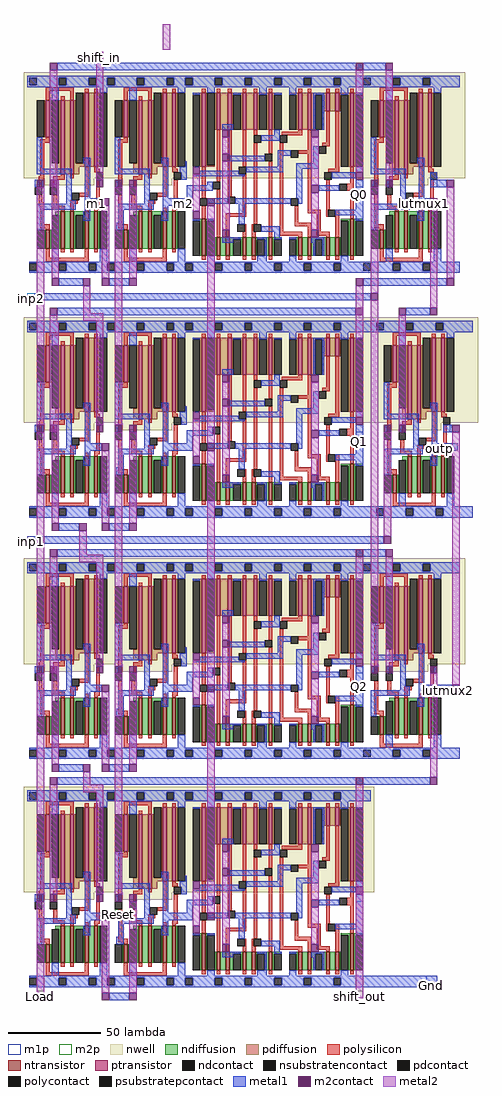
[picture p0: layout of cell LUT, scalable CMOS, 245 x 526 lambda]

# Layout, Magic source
magic
tech scmos
<< metal1 >>
rect 127 584 143 588
rect -50 575 -43 581
rect 167 525 171 529
rect 167 521 176 525
rect 127 515 131 521
rect -17 511 -10 515
rect 31 511 38 515
rect 161 511 167 515
rect -33 468 -20 472
rect 131 468 176 472
rect -46 460 135 464
rect 154 452 167 456
rect -50 443 -42 449
rect 135 443 147 449
rect 174 389 179 393
rect 127 382 131 388
rect 172 379 182 383
rect 135 343 147 349
rect -33 336 -22 340
rect -50 329 142 333
rect 127 322 143 326
rect -50 313 -42 319
rect 127 250 131 256
rect 167 249 179 253
rect -33 206 -20 210
rect 127 199 167 203
rect -50 190 -42 196
rect 135 90 171 96
<< m2contact >>
rect 143 584 147 588
rect -45 521 -41 525
rect -13 521 -9 525
rect -3 521 1 525
rect 135 521 139 525
rect 143 521 147 525
rect 176 521 180 525
rect 47 511 51 515
rect 167 511 171 515
rect -37 468 -33 472
rect -20 468 -16 472
rect 127 468 131 472
rect 176 468 180 472
rect 135 460 139 464
rect 150 452 154 456
rect 167 452 171 456
rect -45 389 -41 393
rect -13 389 -9 393
rect -3 389 1 393
rect 142 389 146 393
rect 150 389 154 393
rect 179 389 183 393
rect 47 379 51 383
rect -37 336 -33 340
rect -22 336 -18 340
rect 142 329 146 333
rect 143 322 147 326
rect -45 259 -41 263
rect -13 259 -9 263
rect -3 259 1 263
rect 135 259 139 263
rect 143 259 147 263
rect 167 259 171 263
rect 47 249 51 253
rect 179 249 183 253
rect -37 206 -33 210
rect -20 206 -16 210
rect 167 199 171 203
rect -45 136 -41 140
rect -13 136 -9 140
rect -3 136 1 140
rect 47 126 51 130
<< metal2 >>
rect 23 595 27 609
rect -13 525 -9 594
rect 143 525 147 584
rect -45 393 -41 521
rect -37 472 -33 525
rect -20 453 -16 468
rect -20 449 -9 453
rect -45 263 -41 389
rect -37 340 -33 448
rect -13 393 -9 449
rect -3 393 1 521
rect -22 323 -18 336
rect -22 319 -9 323
rect -45 140 -41 259
rect -37 210 -33 266
rect -13 263 -9 319
rect -3 263 1 389
rect -20 199 -16 206
rect -20 195 -9 199
rect -13 140 -9 195
rect -3 140 1 259
rect 47 383 51 511
rect 127 443 131 468
rect 135 464 139 521
rect 47 253 51 379
rect 135 263 139 460
rect 167 456 171 511
rect 176 472 180 521
rect 150 393 154 452
rect 142 333 146 389
rect 143 263 147 322
rect -45 84 -41 136
rect 47 130 51 249
rect 167 203 171 259
rect 179 253 183 389
rect 127 84 131 199
<< m1p >>
rect -50 460 -46 464
rect -50 329 -46 333
rect 165 90 171 96
<< m2p >>
rect -13 590 -9 594
rect -3 128 1 132
rect -45 84 -41 88
rect 127 84 131 88
use MUX2X1  MUX2X1_0
transform 1 0 133 0 1 478
box -5 -3 53 105
use DFFPOSRL  DFFPOSRL_3
transform 1 0 -68 0 1 212
box 16 256 205 376
use MUX2X1  MUX2X1_1
transform 1 0 140 0 1 346
box -5 -3 53 105
use DFFPOSRL  DFFPOSRL_2
transform 1 0 -68 0 1 80
box 16 256 205 376
use MUX2X1  MUX2X1_2
transform 1 0 133 0 1 216
box -5 -3 53 105
use DFFPOSRL  DFFPOSRL_1
transform 1 0 -68 0 1 -50
box 16 256 205 376
use DFFPOSRL  DFFPOSRL_0
transform 1 0 -68 0 1 -173
box 16 256 205 376
<< labels >>
rlabel metal2 -43 85 -43 85 1 Load
rlabel metal1 168 91 168 91 1 Gnd
rlabel metal2 -11 591 -11 591 1 shift_in
rlabel metal1 129 517 129 517 1 Q0
rlabel metal1 129 384 129 384 1 Q1
rlabel metal1 129 252 129 252 1 Q2
rlabel metal2 129 85 129 85 1 shift_out
rlabel metal1 -13 512 -13 512 1 m1
rlabel metal1 34 512 34 512 1 m2
rlabel metal1 177 250 177 250 1 lutmux2
rlabel metal1 164 512 164 512 1 lutmux1
rlabel metal1 172 380 172 380 1 outp
rlabel m1p -48 461 -48 461 3 inp2
rlabel metal1 -48 330 -48 330 3 inp1
rlabel m2p -1 129 -1 129 1 Reset
<< end >>

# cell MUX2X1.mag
magic
tech scmos
<< nwell >>
rect -5 48 53 105
rect 6 44 33 48
<< ntransistor >>
rect 7 10 9 20
rect 15 10 17 30
rect 20 10 22 30
rect 28 10 30 30
rect 33 10 35 30
<< ptransistor >>
rect 7 70 9 90
rect 15 50 17 90
rect 20 50 22 90
rect 28 54 30 94
rect 33 54 35 94
<< ndiffusion >>
rect 12 28 15 30
rect 6 10 7 20
rect 9 10 10 20
rect 14 10 15 28
rect 17 10 20 30
rect 22 28 28 30
rect 22 10 23 28
rect 27 10 28 28
rect 30 10 33 30
rect 35 10 36 30
<< pdiffusion >>
rect 6 70 7 90
rect 9 70 10 90
rect 14 56 15 90
rect 12 50 15 56
rect 17 50 20 90
rect 22 56 23 90
rect 27 56 28 94
rect 22 54 28 56
rect 30 54 33 94
rect 35 54 36 94
rect 22 50 25 54
<< ndcontact >>
rect 2 10 6 20
rect 10 10 14 28
rect 23 10 27 28
rect 36 10 40 30
<< pdcontact >>
rect 2 70 6 90
rect 10 56 14 90
rect 23 56 27 94
rect 36 54 40 94
<< psubstratepcontact >>
rect -2 -2 2 2
rect 14 -2 18 2
rect 30 -2 34 2
<< nsubstratencontact >>
rect -2 98 2 102
rect 14 98 18 102
rect 30 98 34 102
<< polysilicon >>
rect 7 95 22 97
rect 7 90 9 95
rect 15 90 17 92
rect 20 90 22 95
rect 28 94 30 96
rect 33 94 35 96
rect 7 69 9 70
rect 4 67 9 69
rect 4 43 6 67
rect 15 49 17 50
rect 12 47 17 49
rect 20 48 22 50
rect 12 43 14 47
rect 28 40 30 54
rect 33 53 35 54
rect 33 51 36 53
rect 4 23 6 39
rect 11 33 13 39
rect 25 38 30 40
rect 20 34 24 36
rect 11 31 17 33
rect 15 30 17 31
rect 20 30 22 34
rect 34 33 36 47
rect 28 30 30 32
rect 33 31 36 33
rect 33 30 35 31
rect 4 21 9 23
rect 7 20 9 21
rect 7 5 9 10
rect 15 8 17 10
rect 20 8 22 10
rect 28 5 30 10
rect 33 8 35 10
rect 7 3 30 5
<< polycontact >>
rect 2 39 6 43
rect 10 39 14 43
rect 21 36 25 40
rect 34 47 38 51
<< metal1 >>
rect -2 102 50 103
rect 2 98 14 102
rect 18 98 30 102
rect 34 98 50 102
rect -2 97 50 98
rect 10 90 14 97
rect 36 94 40 97
rect 2 53 5 70
rect 27 56 31 59
rect 2 50 21 53
rect 2 43 6 47
rect 10 43 14 47
rect 18 36 21 50
rect 28 37 31 56
rect 34 43 38 47
rect 18 34 23 36
rect 2 31 23 34
rect 28 33 38 37
rect 2 20 5 31
rect 28 30 31 33
rect 27 25 31 30
rect 10 3 14 10
rect 36 3 40 10
rect -2 2 50 3
rect 2 -2 14 2
rect 18 -2 30 2
rect 34 -2 50 2
rect -2 -3 50 -2
<< m1p >>
rect 2 43 6 47
rect 10 43 14 47
rect 34 43 38 47
rect 34 33 38 37
<< labels >>
rlabel metal1 4 45 4 45 1 S
rlabel metal1 4 100 4 100 6 vdd
rlabel metal1 4 0 4 0 8 gnd
rlabel metal1 36 45 36 45 1 A
rlabel metal1 12 45 12 45 1 B
rlabel metal1 36 35 36 35 1 Y
<< end >>

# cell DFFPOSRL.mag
magic
tech scmos
<< nwell >>
rect 16 314 205 371
rect 27 310 54 314
rect 69 310 96 314
<< ntransistor >>
rect 28 276 30 286
rect 36 276 38 296
rect 41 276 43 296
rect 49 276 51 296
rect 54 276 56 296
rect 70 276 72 286
rect 78 276 80 296
rect 83 276 85 296
rect 91 276 93 296
rect 96 276 98 296
rect 112 272 114 292
rect 120 272 122 282
rect 125 272 127 282
rect 134 272 136 282
rect 139 272 141 282
rect 148 272 150 282
rect 164 272 166 282
rect 169 272 171 282
rect 179 272 181 282
rect 184 272 186 282
rect 192 272 194 292
<< ptransistor >>
rect 28 336 30 356
rect 36 316 38 356
rect 41 316 43 356
rect 49 320 51 360
rect 54 320 56 360
rect 70 336 72 356
rect 78 316 80 356
rect 83 316 85 356
rect 91 320 93 360
rect 96 320 98 360
rect 112 320 114 360
rect 120 340 122 360
rect 126 340 128 360
rect 134 340 136 360
rect 140 340 142 360
rect 148 340 150 360
rect 164 340 166 360
rect 169 340 171 360
rect 179 350 181 360
rect 184 350 186 360
rect 192 320 194 360
<< ndiffusion >>
rect 33 294 36 296
rect 27 276 28 286
rect 30 276 31 286
rect 35 276 36 294
rect 38 276 41 296
rect 43 294 49 296
rect 43 276 44 294
rect 48 276 49 294
rect 51 276 54 296
rect 56 276 57 296
rect 75 294 78 296
rect 69 276 70 286
rect 72 276 73 286
rect 77 276 78 294
rect 80 276 83 296
rect 85 294 91 296
rect 85 276 86 294
rect 90 276 91 294
rect 93 276 96 296
rect 98 276 99 296
rect 107 291 112 292
rect 111 272 112 291
rect 114 291 119 292
rect 114 272 115 291
rect 187 291 192 292
rect 119 272 120 282
rect 122 272 125 282
rect 127 281 134 282
rect 127 272 129 281
rect 133 272 134 281
rect 136 272 139 282
rect 141 281 148 282
rect 141 272 142 281
rect 146 272 148 281
rect 150 281 155 282
rect 150 272 151 281
rect 159 281 164 282
rect 163 272 164 281
rect 166 272 169 282
rect 171 281 179 282
rect 171 272 173 281
rect 177 272 179 281
rect 181 272 184 282
rect 186 272 187 282
rect 191 272 192 291
rect 194 291 199 292
rect 194 272 195 291
<< pdiffusion >>
rect 27 336 28 356
rect 30 336 31 356
rect 35 322 36 356
rect 33 316 36 322
rect 38 316 41 356
rect 43 322 44 356
rect 48 322 49 360
rect 43 320 49 322
rect 51 320 54 360
rect 56 320 57 360
rect 69 336 70 356
rect 72 336 73 356
rect 43 316 46 320
rect 77 322 78 356
rect 75 316 78 322
rect 80 316 83 356
rect 85 322 86 356
rect 90 322 91 360
rect 85 320 91 322
rect 93 320 96 360
rect 98 320 99 360
rect 107 359 112 360
rect 111 320 112 359
rect 114 321 115 360
rect 119 340 120 360
rect 122 340 126 360
rect 128 359 134 360
rect 128 340 129 359
rect 133 340 134 359
rect 136 340 140 360
rect 142 359 148 360
rect 142 340 143 359
rect 147 340 148 359
rect 150 359 155 360
rect 150 340 151 359
rect 159 359 164 360
rect 163 340 164 359
rect 166 340 169 360
rect 171 359 179 360
rect 171 340 173 359
rect 177 350 179 359
rect 181 350 184 360
rect 186 359 192 360
rect 186 350 187 359
rect 177 340 178 350
rect 114 320 119 321
rect 85 316 88 320
rect 191 320 192 359
rect 194 359 199 360
rect 194 320 195 359
<< ndcontact >>
rect 23 276 27 286
rect 31 276 35 294
rect 44 276 48 294
rect 57 276 61 296
rect 65 276 69 286
rect 73 276 77 294
rect 86 276 90 294
rect 99 276 103 296
rect 107 272 111 291
rect 115 272 119 291
rect 129 272 133 281
rect 142 272 146 281
rect 151 272 155 281
rect 159 272 163 281
rect 173 272 177 281
rect 187 272 191 291
rect 195 272 199 291
<< pdcontact >>
rect 23 336 27 356
rect 31 322 35 356
rect 44 322 48 360
rect 57 320 61 360
rect 65 336 69 356
rect 73 322 77 356
rect 86 322 90 360
rect 99 320 103 360
rect 107 320 111 359
rect 115 321 119 360
rect 129 340 133 359
rect 143 340 147 359
rect 151 340 155 359
rect 159 340 163 359
rect 173 340 177 359
rect 187 320 191 359
rect 195 320 199 359
<< psubstratepcontact >>
rect 19 264 23 268
rect 35 264 39 268
rect 51 264 55 268
rect 61 264 65 268
rect 77 264 81 268
rect 93 264 97 268
rect 103 264 107 268
rect 119 264 123 268
rect 135 264 139 268
rect 151 264 155 268
rect 167 264 171 268
rect 183 264 187 268
<< nsubstratencontact >>
rect 19 364 23 368
rect 35 364 39 368
rect 51 364 55 368
rect 61 364 65 368
rect 77 364 81 368
rect 93 364 97 368
rect 103 364 107 368
rect 119 364 123 368
rect 135 364 139 368
rect 151 364 155 368
rect 167 364 171 368
rect 183 364 187 368
<< polysilicon >>
rect 28 361 43 363
rect 28 356 30 361
rect 36 356 38 358
rect 41 356 43 361
rect 49 360 51 362
rect 54 360 56 362
rect 70 361 85 363
rect 28 335 30 336
rect 25 333 30 335
rect 25 315 27 333
rect 70 356 72 361
rect 78 356 80 358
rect 83 356 85 361
rect 91 360 93 362
rect 96 360 98 362
rect 112 360 114 362
rect 120 360 122 362
rect 126 360 128 362
rect 134 360 136 362
rect 140 360 142 362
rect 148 360 150 362
rect 164 360 166 362
rect 169 360 171 362
rect 179 360 181 362
rect 184 360 186 362
rect 192 360 194 362
rect 70 335 72 336
rect 67 333 72 335
rect 36 315 38 316
rect 24 313 27 315
rect 32 313 38 315
rect 41 314 43 316
rect 24 309 26 313
rect 32 309 34 313
rect 49 306 51 320
rect 54 319 56 320
rect 54 317 57 319
rect 24 301 26 305
rect 24 299 27 301
rect 25 289 27 299
rect 32 299 34 305
rect 46 304 51 306
rect 41 300 45 302
rect 32 297 38 299
rect 36 296 38 297
rect 41 296 43 300
rect 55 299 57 313
rect 67 309 69 333
rect 78 315 80 316
rect 75 313 80 315
rect 83 314 85 316
rect 75 309 77 313
rect 91 306 93 320
rect 96 319 98 320
rect 96 317 99 319
rect 49 296 51 298
rect 54 297 57 299
rect 54 296 56 297
rect 25 287 30 289
rect 28 286 30 287
rect 67 289 69 305
rect 74 299 76 305
rect 88 304 93 306
rect 83 300 87 302
rect 74 297 80 299
rect 78 296 80 297
rect 83 296 85 300
rect 97 299 99 313
rect 112 303 114 320
rect 120 312 122 340
rect 91 296 93 298
rect 96 297 99 299
rect 96 296 98 297
rect 67 287 72 289
rect 70 286 72 287
rect 112 292 114 299
rect 28 271 30 276
rect 36 274 38 276
rect 41 274 43 276
rect 49 271 51 276
rect 54 274 56 276
rect 28 269 51 271
rect 70 271 72 276
rect 78 274 80 276
rect 83 274 85 276
rect 91 271 93 276
rect 96 274 98 276
rect 120 282 122 308
rect 126 304 128 340
rect 134 320 136 340
rect 134 295 136 316
rect 125 293 136 295
rect 140 337 142 340
rect 125 282 127 293
rect 140 289 142 333
rect 148 327 150 340
rect 164 339 166 340
rect 155 337 166 339
rect 135 285 136 289
rect 134 282 136 285
rect 139 285 140 289
rect 139 282 141 285
rect 148 282 150 323
rect 154 285 156 333
rect 169 329 171 340
rect 179 333 181 350
rect 177 331 181 333
rect 164 327 171 329
rect 162 290 164 299
rect 169 297 171 327
rect 184 319 186 350
rect 180 317 186 319
rect 179 297 181 313
rect 192 311 194 320
rect 190 307 194 311
rect 169 295 176 297
rect 162 288 171 290
rect 154 283 166 285
rect 164 282 166 283
rect 169 282 171 288
rect 174 285 176 295
rect 179 293 180 297
rect 174 283 181 285
rect 179 282 181 283
rect 184 282 186 297
rect 192 292 194 307
rect 70 269 93 271
rect 112 270 114 272
rect 120 270 122 272
rect 125 270 127 272
rect 134 270 136 272
rect 139 270 141 272
rect 148 270 150 272
rect 164 270 166 272
rect 169 270 171 272
rect 179 270 181 272
rect 184 270 186 272
rect 192 270 194 272
<< polycontact >>
rect 22 305 26 309
rect 30 305 34 309
rect 42 302 46 306
rect 55 313 59 317
rect 65 305 69 309
rect 73 305 77 309
rect 84 302 88 306
rect 97 313 101 317
rect 118 308 122 312
rect 111 299 115 303
rect 132 316 136 320
rect 126 300 130 304
rect 140 333 144 337
rect 146 323 150 327
rect 131 285 135 289
rect 140 285 144 289
rect 154 333 158 337
rect 160 325 164 329
rect 175 327 179 331
rect 160 299 164 303
rect 178 313 182 317
rect 186 307 190 311
rect 180 293 184 297
<< metal1 >>
rect 34 372 195 376
rect 19 368 203 369
rect 23 364 35 368
rect 39 364 51 368
rect 55 364 61 368
rect 65 364 77 368
rect 81 364 93 368
rect 97 364 103 368
rect 107 364 119 368
rect 123 364 135 368
rect 139 364 151 368
rect 155 364 167 368
rect 171 364 183 368
rect 187 364 203 368
rect 19 363 203 364
rect 31 356 35 363
rect 57 360 61 363
rect 23 319 26 336
rect 48 322 52 325
rect 23 316 42 319
rect 22 309 26 313
rect 39 302 42 316
rect 49 303 52 322
rect 73 356 77 363
rect 99 360 103 363
rect 115 360 119 363
rect 65 319 68 336
rect 90 322 94 325
rect 65 316 84 319
rect 65 309 69 313
rect 39 300 44 302
rect 23 297 44 300
rect 49 299 58 303
rect 81 302 84 316
rect 91 303 94 322
rect 107 359 111 360
rect 103 320 104 323
rect 100 317 104 320
rect 101 313 104 317
rect 129 359 133 360
rect 123 340 129 343
rect 143 359 147 363
rect 151 359 155 360
rect 159 359 163 363
rect 172 359 178 360
rect 172 340 173 359
rect 177 340 178 359
rect 187 359 191 363
rect 151 337 154 340
rect 144 334 154 337
rect 127 323 146 326
rect 153 326 160 329
rect 153 320 156 326
rect 172 322 175 331
rect 111 316 132 318
rect 136 317 156 320
rect 163 319 175 322
rect 195 359 199 360
rect 107 315 135 316
rect 115 310 118 312
rect 104 307 118 310
rect 104 303 107 307
rect 81 300 86 302
rect 23 286 26 297
rect 49 296 52 299
rect 67 297 86 300
rect 91 299 107 303
rect 115 300 126 303
rect 163 303 166 319
rect 195 317 199 320
rect 182 314 195 317
rect 175 307 186 310
rect 130 300 160 303
rect 48 291 52 296
rect 67 290 70 297
rect 91 296 94 299
rect 66 286 70 290
rect 90 291 94 296
rect 31 269 35 276
rect 57 269 61 276
rect 73 269 77 276
rect 99 269 103 276
rect 107 291 111 292
rect 115 291 119 292
rect 132 289 135 300
rect 164 300 166 303
rect 195 297 199 313
rect 184 294 199 297
rect 195 291 199 294
rect 144 285 154 288
rect 151 282 154 285
rect 123 281 133 282
rect 123 279 129 281
rect 142 281 147 282
rect 146 272 147 281
rect 151 281 155 282
rect 159 281 163 282
rect 171 281 178 282
rect 171 279 173 281
rect 172 272 173 279
rect 177 272 178 281
rect 115 269 119 272
rect 142 269 147 272
rect 159 269 163 272
rect 187 269 191 272
rect 19 268 203 269
rect 23 264 35 268
rect 39 264 51 268
rect 55 264 61 268
rect 65 264 77 268
rect 81 264 93 268
rect 97 264 103 268
rect 107 264 119 268
rect 123 264 135 268
rect 139 264 151 268
rect 155 264 167 268
rect 171 264 183 268
rect 187 264 203 268
rect 19 263 203 264
rect 62 256 73 260
<< m2contact >>
rect 30 372 34 376
rect 195 372 199 376
rect 30 309 34 313
rect 73 309 77 313
rect 58 299 62 303
rect 123 336 127 340
rect 171 336 175 340
rect 123 323 127 327
rect 107 316 111 320
rect 195 313 199 317
rect 171 306 175 310
rect 107 292 111 296
rect 123 282 127 286
rect 171 282 175 286
rect 58 256 62 260
rect 73 256 77 260
<< metal2 >>
rect 30 313 34 372
rect 123 327 127 336
rect 58 260 62 299
rect 73 260 77 309
rect 107 296 111 316
rect 123 286 127 323
rect 171 310 175 336
rect 195 317 199 372
rect 171 286 175 306
<< m1p >>
rect 22 309 26 313
rect 30 309 34 313
rect 55 309 59 313
rect 65 309 69 313
rect 195 309 199 313
rect 115 299 119 303
<< labels >>
rlabel metal1 24 310 24 310 1 Load
rlabel polysilicon 57 310 57 310 1 D
rlabel metal1 67 310 67 310 1 Reset
rlabel metal1 51 300 51 300 1 muxout1
rlabel metal1 25 265 25 265 1 Gnd
rlabel metal1 25 365 25 365 1 Vdd
rlabel metal1 94 300 94 300 1 muxout2
rlabel metal1 197 310 197 310 1 Q
rlabel metal1 117 300 117 300 1 Clk
<< end >>
